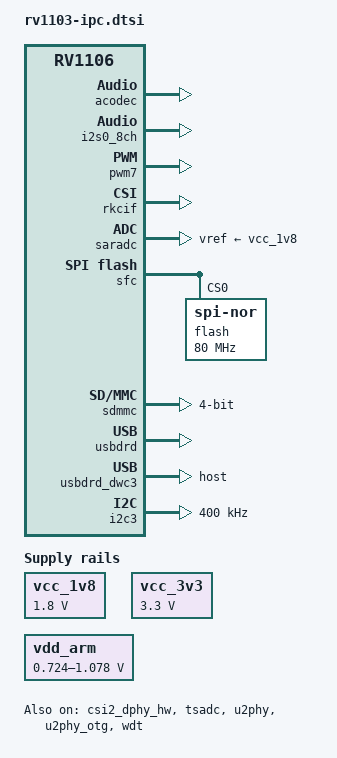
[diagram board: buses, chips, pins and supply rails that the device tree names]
// SPDX-License-Identifier: (GPL-2.0+ OR MIT)
/*
 * Copyright (c) 2022 Rockchip Electronics Co., Ltd.
 */
#include "rv1106-amp.dtsi"
#include "rv1103-evb-dual-cam.dtsi"
/*#include "rv1103-evb-cam.dtsi"*/
/ {
	chosen {
		bootargs = "earlycon=uart8250,mmio32,0xff4c0000 console=ttyFIQ0 rootwait snd_soc_core.prealloc_buffer_size_kbytes=16 coherent_pool=0";
	};

	acodec_sound: acodec-sound {
		compatible = "simple-audio-card";
		simple-audio-card,name = "rv-acodec";
		simple-audio-card,format = "i2s";
		simple-audio-card,mclk-fs = <256>;
		simple-audio-card,cpu {
			sound-dai = <&i2s0_8ch>;
		};
		simple-audio-card,codec {
			sound-dai = <&acodec>;
		};
	};

	vcc_1v8: vcc-1v8 {
		compatible = "regulator-fixed";
		regulator-name = "vcc_1v8";
		regulator-always-on;
		regulator-boot-on;
		regulator-min-microvolt = <1800000>;
		regulator-max-microvolt = <1800000>;
	};

	vcc_3v3: vcc-3v3 {
		compatible = "regulator-fixed";
		regulator-name = "vcc_3v3";
		regulator-always-on;
		regulator-boot-on;
		regulator-min-microvolt = <3300000>;
		regulator-max-microvolt = <3300000>;
	};

	vdd_arm: vdd-arm {
		compatible = "pwm-regulator";
		pwms = <&pwm0 0 5000 1>;
		regulator-name = "vdd_arm";
		regulator-min-microvolt = <724000>;
		regulator-max-microvolt = <1078000>;
		regulator-init-microvolt = <950000>;
		regulator-always-on;
		regulator-boot-on;
		regulator-settling-time-up-us = <250>;
	};
};

&acodec {
	#sound-dai-cells = <0>;
	pa-ctl-gpios = <&gpio1 RK_PA1 GPIO_ACTIVE_HIGH>;
	status = "okay";
};

&cpu0 {
	cpu-supply = <&vdd_arm>;
};

&csi2_dphy_hw {
	status = "okay";
};



&i2s0_8ch {
	#sound-dai-cells = <0>;
	status = "okay";
};



&pwm7 {
	status = "okay";
	pinctrl-names = "active";
	pinctrl-0 = <&pwm7m1_pins>;
};


&rkcif {
	status = "okay";
};


&saradc {
	status = "okay";
	vref-supply = <&vcc_1v8>;
};

&sfc {
	status = "okay";

	flash@0 {
		compatible = "jedec,spi-nor";
		reg = <0>;
		spi-max-frequency = <80000000>;
		spi-rx-bus-width = <4>;
		spi-tx-bus-width = <1>;
	};
};

&sdmmc {
	max-frequency = <50000000>;
	no-sdio;
	no-mmc;
	bus-width = <4>;
	cap-mmc-highspeed;
	cap-sd-highspeed;
	disable-wp;
	pinctrl-names = "default";
	pinctrl-0 = <&sdmmc0_clk &sdmmc0_cmd &sdmmc0_det &sdmmc0_bus4>;
	status = "okay";
};

&tsadc {
	status = "okay";
};


&u2phy {
	status = "okay";
};

&u2phy_otg {
	status = "okay";
};

&usbdrd {
	status = "okay";
};

&usbdrd_dwc3 {
	extcon = <&u2phy>;
	dr_mode = "host";
	status = "okay";
};
&wdt {
	status = "okay";
};

&i2c3 {
	status = "okay";
	clock-frequency = <400000>;
	pinctrl-names = "default";
	pinctrl-0 = <&i2c3m1_xfer>;
};

